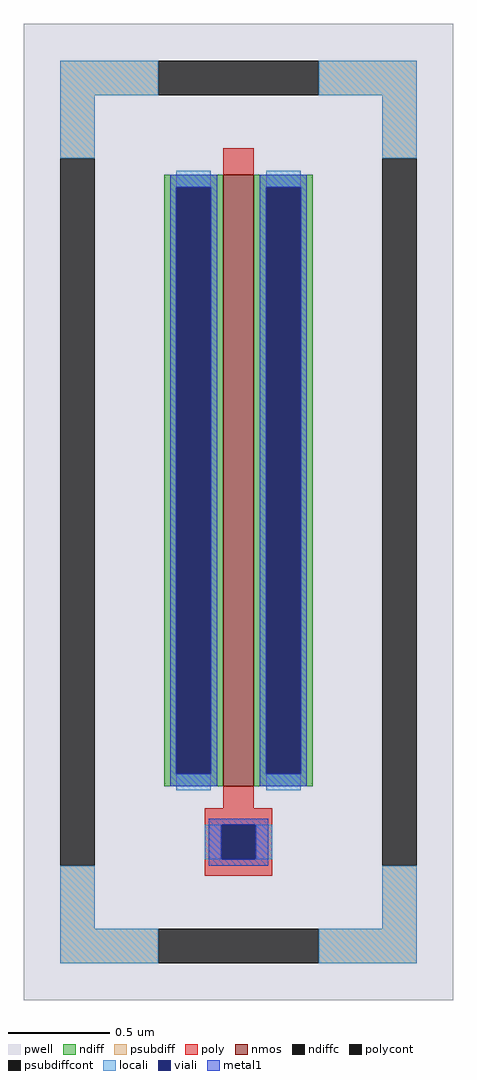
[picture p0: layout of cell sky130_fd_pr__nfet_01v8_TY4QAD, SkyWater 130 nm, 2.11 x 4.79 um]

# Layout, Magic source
magic
tech sky130A
magscale 1 2
<< pwell >>
rect -211 -479 211 479
<< nmos >>
rect -15 -269 15 331
<< ndiff >>
rect -73 319 -15 331
rect -73 -257 -61 319
rect -27 -257 -15 319
rect -73 -269 -15 -257
rect 15 319 73 331
rect 15 -257 27 319
rect 61 -257 73 319
rect 15 -269 73 -257
<< ndiffc >>
rect -61 -257 -27 319
rect 27 -257 61 319
<< psubdiff >>
rect -175 409 -79 443
rect 79 409 175 443
rect -175 347 -141 409
rect 141 347 175 409
rect -175 -409 -141 -347
rect 141 -409 175 -347
rect -175 -443 -79 -409
rect 79 -443 175 -409
<< psubdiffcont >>
rect -79 409 79 443
rect -175 -347 -141 347
rect 141 -347 175 347
rect -79 -443 79 -409
<< poly >>
rect -15 331 15 357
rect -15 -291 15 -269
rect -33 -307 33 -291
rect -33 -341 -17 -307
rect 17 -341 33 -307
rect -33 -357 33 -341
<< polycont >>
rect -17 -341 17 -307
<< locali >>
rect -175 409 -79 443
rect 79 409 175 443
rect -175 347 -141 409
rect 141 347 175 409
rect -61 319 -27 335
rect -61 -273 -27 -257
rect 27 319 61 335
rect 27 -273 61 -257
rect -33 -341 -17 -307
rect 17 -341 33 -307
rect -175 -409 -141 -347
rect 141 -409 175 -347
rect -175 -443 -79 -409
rect 79 -443 175 -409
<< viali >>
rect -61 -257 -27 319
rect 27 -257 61 319
rect -17 -341 17 -307
<< metal1 >>
rect -67 319 -21 331
rect -67 -257 -61 319
rect -27 -257 -21 319
rect -67 -269 -21 -257
rect 21 319 67 331
rect 21 -257 27 319
rect 61 -257 67 319
rect 21 -269 67 -257
rect -29 -307 29 -301
rect -29 -341 -17 -307
rect 17 -341 29 -307
rect -29 -347 29 -341
<< properties >>
string gencell sky130_fd_pr__nfet_01v8
string FIXED_BBOX -158 -426 158 426
string parameters w 3 l 0.150 m 1 nf 1 diffcov 100 polycov 100 guard 1 glc 1 grc 1 gtc 1 gbc 1 tbcov 100 rlcov 100 topc 0 botc 1 poverlap 0 doverlap 1 lmin 0.15 wmin 0.42 compatible {sky130_fd_pr__nfet_01v8 sky130_fd_pr__nfet_01v8_lvt  sky130_fd_bs_flash__special_sonosfet_star  sky130_fd_pr__nfet_g5v0d10v5 sky130_fd_pr__nfet_05v0_nvt} full_metal 1 viasrc 100 viadrn 100 viagate 100 viagb 0 viagr 0 viagl 0 viagt 0
string library sky130
<< end >>
